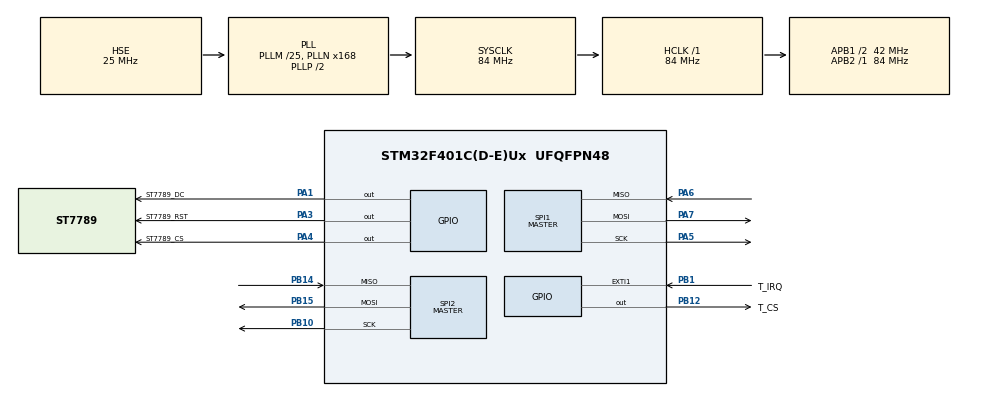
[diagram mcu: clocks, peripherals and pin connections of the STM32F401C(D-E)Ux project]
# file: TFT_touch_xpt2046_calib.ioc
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Dma.Request0=SPI1_TX
Dma.SPI1_TX.0.Direction=DMA_MEMORY_TO_PERIPH
Dma.SPI1_TX.0.FIFOMode=DMA_FIFOMODE_DISABLE
Dma.SPI1_TX.0.Instance=DMA2_Stream3
Dma.SPI1_TX.0.MemDataAlignment=DMA_MDATAALIGN_BYTE
Dma.SPI1_TX.0.MemInc=DMA_MINC_ENABLE
Dma.SPI1_TX.0.Mode=DMA_NORMAL
Dma.SPI1_TX.0.PeriphDataAlignment=DMA_PDATAALIGN_BYTE
Dma.SPI1_TX.0.PeriphInc=DMA_PINC_DISABLE
Dma.SPI1_TX.0.Priority=DMA_PRIORITY_LOW
Mcu.Family=STM32F4
Mcu.Name=STM32F401C(D-E)Ux
Mcu.Package=UFQFPN48
NVIC.DMA2_Stream3_IRQn=true\:0\:0\:false\:false\:true\:false\:true\:true
NVIC.PriorityGroup=NVIC_PRIORITYGROUP_4
PA1.GPIO_Label=ST7789_DC
PA1.GPIO_ModeDefaultOutputPP=GPIO_MODE_OUTPUT_OD
PA1.GPIO_PuPd=GPIO_NOPULL
PA1.GPIO_Speed=GPIO_SPEED_FREQ_HIGH
PA1.Signal=GPIO_Output
PA3.GPIO_Label=ST7789_RST
PA3.GPIO_ModeDefaultOutputPP=GPIO_MODE_OUTPUT_OD
PA3.GPIO_PuPd=GPIO_NOPULL
PA3.GPIO_Speed=GPIO_SPEED_FREQ_HIGH
PA3.Signal=GPIO_Output
PA4.GPIO_Label=ST7789_CS
PA4.GPIO_ModeDefaultOutputPP=GPIO_MODE_OUTPUT_OD
PA4.GPIO_PuPd=GPIO_NOPULL
PA4.GPIO_Speed=GPIO_SPEED_FREQ_HIGH
PA4.Signal=GPIO_Output
PA5.Mode=Full_Duplex_Master
PA5.Signal=SPI1_SCK
PA6.Mode=Full_Duplex_Master
PA6.Signal=SPI1_MISO
PA7.Mode=Full_Duplex_Master
PA7.Signal=SPI1_MOSI
PB1.GPIO_Label=T_IRQ
PB1.Signal=GPXTI1
PB10.Mode=Full_Duplex_Master
PB10.Signal=SPI2_SCK
PB12.GPIO_Label=T_CS
PB12.GPIO_ModeDefaultOutputPP=GPIO_MODE_OUTPUT_OD
PB12.GPIO_PuPd=GPIO_NOPULL
PB12.GPIO_Speed=GPIO_SPEED_FREQ_VERY_HIGH
PB12.Signal=GPIO_Output
PB14.Mode=Full_Duplex_Master
PB14.Signal=SPI2_MISO
PB15.Mode=Full_Duplex_Master
PB15.Signal=SPI2_MOSI
PH0\ -\ OSC_IN.Mode=HSE-External-Oscillator
PH0\ -\ OSC_IN.Signal=RCC_OSC_IN
PH1\ -\ OSC_OUT.Mode=HSE-External-Oscillator
PH1\ -\ OSC_OUT.Signal=RCC_OSC_OUT
ProjectManager.HeapSize=0x200
ProjectManager.StackSize=0x400
ProjectManager.TargetToolchain=STM32CubeIDE
RCC.48MHZClocksFreq_Value=42000000
RCC.AHBFreq_Value=84000000
RCC.APB1CLKDivider=RCC_HCLK_DIV2
RCC.APB1Freq_Value=42000000
RCC.APB1TimFreq_Value=84000000
RCC.APB2Freq_Value=84000000
RCC.APB2TimFreq_Value=84000000
RCC.CortexFreq_Value=84000000
RCC.HCLKFreq_Value=84000000
RCC.HSE_VALUE=25000000
RCC.HSI_VALUE=16000000
RCC.LSE_VALUE=32768
RCC.PLLM=25
RCC.PLLN=168
RCC.PLLSourceVirtual=RCC_PLLSOURCE_HSE
RCC.SYSCLKFreq_VALUE=84000000
RCC.SYSCLKSource=RCC_SYSCLKSOURCE_PLLCLK
RCC.VCOOutputFreq_Value=168000000
SPI1.BaudRatePrescaler=SPI_BAUDRATEPRESCALER_4
SPI1.CLKPhase=SPI_PHASE_1EDGE
SPI1.CLKPolarity=SPI_POLARITY_HIGH
SPI1.Direction=SPI_DIRECTION_2LINES
SPI1.Mode=SPI_MODE_MASTER
SPI1.VirtualType=VM_MASTER
SPI2.BaudRatePrescaler=SPI_BAUDRATEPRESCALER_8
SPI2.DataSize=SPI_DATASIZE_16BIT
SPI2.Direction=SPI_DIRECTION_2LINES
SPI2.Mode=SPI_MODE_MASTER
SPI2.VirtualType=VM_MASTER
board=custom

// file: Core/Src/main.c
/* USER CODE BEGIN Header */
/**
  ******************************************************************************
  * @file           : main.c
  * @brief          : Main program body of TFT_touch_xpt2046 to calib screen
  ******************************************************************************
  * @attention
  *
  * Copyright (c) 2024 STMicroelectronics.
  * All rights reserved.
  *
  * This software is licensed under terms that can be found in the LICENSE file
  * in the root directory of this software component.
  * If no LICENSE file comes with this software, it is provided AS-IS.
  *
  ******************************************************************************
  */
/* USER CODE END Header */
#include "main.h"

/* USER CODE BEGIN Includes */
#include "st7789.h"
#include "xpt2046.h"
#include <stdio.h>
/* USER CODE END Includes */

SPI_HandleTypeDef hspi1;
SPI_HandleTypeDef hspi2;
DMA_HandleTypeDef hdma_spi1_tx;

/* USER CODE BEGIN PV */
uint16_t coordinate_x = 0;
uint16_t coordinate_y = 0;
/* USER CODE END PV */

void SystemClock_Config(void);
static void MX_GPIO_Init(void);
static void MX_DMA_Init(void);
static void MX_SPI1_Init(void);
static void MX_SPI2_Init(void);

int main(void)
{

  /* MCU Configuration--------------------------------------------------------*/

  /* Reset of all peripherals, Initializes the Flash interface and the Systick. */
  HAL_Init();

  /* Configure the system clock */
  SystemClock_Config();

  /* Initialize all configured peripherals */
  MX_GPIO_Init();
  MX_DMA_Init();
  MX_SPI1_Init();
  MX_SPI2_Init();
  /* USER CODE BEGIN 2 */
  ST7789_Init();

  xpt2046_spi(&hspi2);
  xpt2046_init();
  /* USER CODE END 2 */

  /* Infinite loop */
  /* USER CODE BEGIN WHILE */
//  ST7789_Test();
  char coordinate_string[20];
  uint8_t change_flag = 0;

  // Turn screen Blackj
//  ST7789_InvertColors(ST7789_INVOFF);
  ST7789_Fill_Color(WHITE);
  HAL_Delay(500);
  ST7789_WriteString(10, 20, "Touch Test", Font_11x18, RED, WHITE);
  HAL_Delay(500);
  ST7789_DrawPixel_4px( 10,  10, CYAN);
  ST7789_DrawPixel_4px(230,  10, CYAN);
  ST7789_DrawPixel_4px( 10, 310, CYAN);
  ST7789_DrawPixel_4px(230, 310, CYAN);

  // Draw resset button
  ST7789_DrawFilledRectangle(158, 18, 70, 22, BLACK);
  ST7789_WriteString(160, 20, "RESET", Font_11x18, CYAN, BLACK);// 160~226 - 20~38

  // Draw drawing border
  ST7789_DrawRectangle(8, 88, 232, 312, BLACK);

  while (1)
  {
	uint16_t pre_coordinate_x = coordinate_x;
	uint16_t pre_coordinate_y = coordinate_y;
	xpt2046_read_position(&coordinate_x, &coordinate_y);
	if (coordinate_x == 0 && coordinate_y == 0)
	{
		// do smt
		if (change_flag != 0)
		{
			ST7789_DrawFilledRectangle(54, 40, 66, 18, WHITE);
			sprintf(coordinate_string,"x = 0");
			ST7789_WriteString(10, 40, coordinate_string, Font_11x18, RED, WHITE);
			HAL_Delay(50);
			ST7789_DrawFilledRectangle(54, 60, 66, 18, WHITE);
			sprintf(coordinate_string,"y = 0");
			ST7789_WriteString(10, 60, coordinate_string, Font_11x18, RED, WHITE);
			HAL_Delay(50);
			change_flag = 0;
		}
	}
	else
	{
		// update screen
		sprintf(coordinate_string,"x = %d", coordinate_x);
		ST7789_WriteString(10, 40, coordinate_string, Font_11x18, RED, WHITE);
//		HAL_Delay(100);
		sprintf(coordinate_string,"y = %d", coordinate_y );
		ST7789_WriteString(10, 60, coordinate_string, Font_11x18, RED, WHITE);
//		HAL_Delay(100);
		change_flag = 1;
	}

//	// Draw function
	if (
			// bounding of draw box
			(coordinate_x >  25 && coordinate_x < 221) &&
			(coordinate_y > 108 && coordinate_y < 307) &&
			// prevent jumping in value
			(coordinate_x < pre_coordinate_x + 10) && (coordinate_x > pre_coordinate_x - 10) &&
			(coordinate_y < pre_coordinate_y + 10) && (coordinate_y > pre_coordinate_y - 10)
		)
	{
//		ST7789_DrawPixel_4px(coordinate_x - 3, coordinate_y - 3, RED);
//		ST7789_DrawPixel_4px(coordinate_x - 3, coordinate_y, RED);
//		ST7789_DrawPixel_4px(coordinate_x, coordinate_y - 3, RED);
//		ST7789_DrawPixel_4px(coordinate_x, coordinate_y, RED);
		ST7789_DrawFilledRectangle(coordinate_x - 4, coordinate_y - 4, 8, 8, RED);
//		ST7789_DrawFilledCircle(coordinate_x - 4, coordinate_y - 4, 6, RED);
//		HAL_Delay(10);
	}

	// Reset button
	if (
			(coordinate_x > 164 && coordinate_x < 225) &&
			(coordinate_y >  42 && coordinate_y <  59)
		)
	{
		ST7789_DrawFilledRectangle(10, 90, 220, 220, WHITE);
		HAL_Delay(100);
	}
    /* USER CODE END WHILE */

  }
}

void SystemClock_Config(void)
{
  RCC_OscInitTypeDef RCC_OscInitStruct = {0};
  RCC_ClkInitTypeDef RCC_ClkInitStruct = {0};

  /** Configure the main internal regulator output voltage
  */
  __HAL_RCC_PWR_CLK_ENABLE();
  __HAL_PWR_VOLTAGESCALING_CONFIG(PWR_REGULATOR_VOLTAGE_SCALE2);

  /** Initializes the RCC Oscillators according to the specified parameters
  * in the RCC_OscInitTypeDef structure.
  */
  RCC_OscInitStruct.OscillatorType = RCC_OSCILLATORTYPE_HSE;
  RCC_OscInitStruct.HSEState = RCC_HSE_ON;
  RCC_OscInitStruct.PLL.PLLState = RCC_PLL_ON;
  RCC_OscInitStruct.PLL.PLLSource = RCC_PLLSOURCE_HSE;
  RCC_OscInitStruct.PLL.PLLM = 25;
  RCC_OscInitStruct.PLL.PLLN = 168;
  RCC_OscInitStruct.PLL.PLLP = RCC_PLLP_DIV2;
  RCC_OscInitStruct.PLL.PLLQ = 4;
  if (HAL_RCC_OscConfig(&RCC_OscInitStruct) != HAL_OK)
  {
    Error_Handler();
  }

  /** Initializes the CPU, AHB and APB buses clocks
  */
  RCC_ClkInitStruct.ClockType = RCC_CLOCKTYPE_HCLK|RCC_CLOCKTYPE_SYSCLK
                              |RCC_CLOCKTYPE_PCLK1|RCC_CLOCKTYPE_PCLK2;
  RCC_ClkInitStruct.SYSCLKSource = RCC_SYSCLKSOURCE_PLLCLK;
  RCC_ClkInitStruct.AHBCLKDivider = RCC_SYSCLK_DIV1;
  RCC_ClkInitStruct.APB1CLKDivider = RCC_HCLK_DIV2;
  RCC_ClkInitStruct.APB2CLKDivider = RCC_HCLK_DIV1;

  if (HAL_RCC_ClockConfig(&RCC_ClkInitStruct, FLASH_LATENCY_2) != HAL_OK)
  {
    Error_Handler();
  }
}

static void MX_SPI1_Init(void)
{

  /* SPI1 parameter configuration*/
  hspi1.Instance = SPI1;
  hspi1.Init.Mode = SPI_MODE_MASTER;
  hspi1.Init.Direction = SPI_DIRECTION_2LINES;
  hspi1.Init.DataSize = SPI_DATASIZE_8BIT;
  hspi1.Init.CLKPolarity = SPI_POLARITY_HIGH;
  hspi1.Init.CLKPhase = SPI_PHASE_1EDGE;
  hspi1.Init.NSS = SPI_NSS_SOFT;
  hspi1.Init.BaudRatePrescaler = SPI_BAUDRATEPRESCALER_4;
  hspi1.Init.FirstBit = SPI_FIRSTBIT_MSB;
  hspi1.Init.TIMode = SPI_TIMODE_DISABLE;
  hspi1.Init.CRCCalculation = SPI_CRCCALCULATION_DISABLE;
  hspi1.Init.CRCPolynomial = 10;
  if (HAL_SPI_Init(&hspi1) != HAL_OK)
  {
    Error_Handler();
  }

}

static void MX_SPI2_Init(void)
{

  /* SPI2 parameter configuration*/
  hspi2.Instance = SPI2;
  hspi2.Init.Mode = SPI_MODE_MASTER;
  hspi2.Init.Direction = SPI_DIRECTION_2LINES;
  hspi2.Init.DataSize = SPI_DATASIZE_16BIT;
  hspi2.Init.CLKPolarity = SPI_POLARITY_LOW;
  hspi2.Init.CLKPhase = SPI_PHASE_1EDGE;
  hspi2.Init.NSS = SPI_NSS_SOFT;
  hspi2.Init.BaudRatePrescaler = SPI_BAUDRATEPRESCALER_8;
  hspi2.Init.FirstBit = SPI_FIRSTBIT_MSB;
  hspi2.Init.TIMode = SPI_TIMODE_DISABLE;
  hspi2.Init.CRCCalculation = SPI_CRCCALCULATION_DISABLE;
  hspi2.Init.CRCPolynomial = 10;
  if (HAL_SPI_Init(&hspi2) != HAL_OK)
  {
    Error_Handler();
  }

}

static void MX_DMA_Init(void)
{

  /* DMA controller clock enable */
  __HAL_RCC_DMA2_CLK_ENABLE();

  /* DMA interrupt init */
  /* DMA2_Stream3_IRQn interrupt configuration */
  HAL_NVIC_SetPriority(DMA2_Stream3_IRQn, 0, 0);
  HAL_NVIC_EnableIRQ(DMA2_Stream3_IRQn);

}

static void MX_GPIO_Init(void)
{
  GPIO_InitTypeDef GPIO_InitStruct = {0};

  /* GPIO Ports Clock Enable */
  __HAL_RCC_GPIOH_CLK_ENABLE();
  __HAL_RCC_GPIOA_CLK_ENABLE();
  __HAL_RCC_GPIOB_CLK_ENABLE();

  /*Configure GPIO pin Output Level */
  HAL_GPIO_WritePin(GPIOA, ST7789_DC_Pin|ST7789_RST_Pin|ST7789_CS_Pin, GPIO_PIN_RESET);

  /*Configure GPIO pin Output Level */
  HAL_GPIO_WritePin(T_CS_GPIO_Port, T_CS_Pin, GPIO_PIN_RESET);

  /*Configure GPIO pins : ST7789_DC_Pin ST7789_RST_Pin ST7789_CS_Pin */
  GPIO_InitStruct.Pin = ST7789_DC_Pin|ST7789_RST_Pin|ST7789_CS_Pin;
  GPIO_InitStruct.Mode = GPIO_MODE_OUTPUT_OD;
  GPIO_InitStruct.Pull = GPIO_NOPULL;
  GPIO_InitStruct.Speed = GPIO_SPEED_FREQ_HIGH;
  HAL_GPIO_Init(GPIOA, &GPIO_InitStruct);

  /*Configure GPIO pin : T_IRQ_Pin */
  GPIO_InitStruct.Pin = T_IRQ_Pin;
  GPIO_InitStruct.Mode = GPIO_MODE_IT_RISING;
  GPIO_InitStruct.Pull = GPIO_NOPULL;
  HAL_GPIO_Init(T_IRQ_GPIO_Port, &GPIO_InitStruct);

  /*Configure GPIO pin : T_CS_Pin */
  GPIO_InitStruct.Pin = T_CS_Pin;
  GPIO_InitStruct.Mode = GPIO_MODE_OUTPUT_OD;
  GPIO_InitStruct.Pull = GPIO_NOPULL;
  GPIO_InitStruct.Speed = GPIO_SPEED_FREQ_VERY_HIGH;
  HAL_GPIO_Init(T_CS_GPIO_Port, &GPIO_InitStruct);

}

void Error_Handler(void)
{
  __disable_irq();
  while (1)
  {
  }
}
